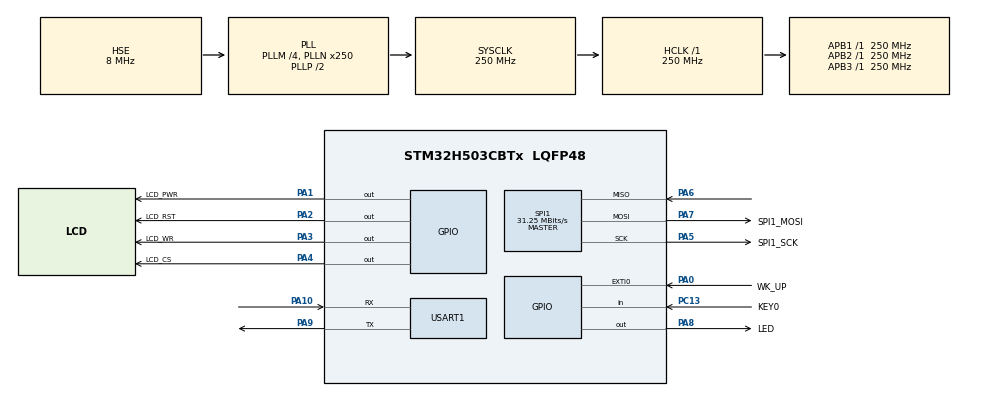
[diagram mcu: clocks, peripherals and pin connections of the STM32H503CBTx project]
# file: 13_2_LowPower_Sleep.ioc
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BOOTPATH.BootPathName=LEGACY
BOOTPATH.UserSelectedBootPath=LEGACY
Mcu.Family=STM32H5
Mcu.Name=STM32H503CBTx
Mcu.Package=LQFP48
NVIC.EXTI0_IRQn=true\:2\:2\:true\:false\:true\:true\:true\:true
NVIC.PriorityGroup=NVIC_PRIORITYGROUP_2
NVIC.USART1_IRQn=true\:2\:2\:true\:false\:true\:true\:true\:true
PA0.GPIO_Label=WK_UP
PA0.GPIO_PuPd=GPIO_PULLDOWN
PA0.Signal=GPXTI0
PA1.GPIO_Label=LCD_PWR
PA1.GPIO_PuPd=GPIO_PULLUP
PA1.GPIO_Speed=GPIO_SPEED_FREQ_HIGH
PA1.PinState=GPIO_PIN_SET
PA1.Signal=GPIO_Output
PA10.GPIO_PuPd=GPIO_NOPULL
PA10.Mode=Asynchronous
PA10.Signal=USART1_RX
PA2.GPIO_Label=LCD_RST
PA2.GPIO_PuPd=GPIO_PULLUP
PA2.GPIO_Speed=GPIO_SPEED_FREQ_HIGH
PA2.PinState=GPIO_PIN_SET
PA2.Signal=GPIO_Output
PA3.GPIO_Label=LCD_WR
PA3.GPIO_ModeDefaultOutputPP=GPIO_MODE_OUTPUT_PP
PA3.GPIO_PuPd=GPIO_PULLUP
PA3.GPIO_Speed=GPIO_SPEED_FREQ_HIGH
PA3.PinState=GPIO_PIN_SET
PA3.Signal=GPIO_Output
PA4.GPIO_Label=LCD_CS
PA4.GPIO_PuPd=GPIO_PULLUP
PA4.GPIO_Speed=GPIO_SPEED_FREQ_HIGH
PA4.PinState=GPIO_PIN_SET
PA4.Signal=GPIO_Output
PA5.GPIO_Label=SPI1_SCK
PA5.GPIO_PuPd=GPIO_PULLUP
PA5.GPIO_Speed=GPIO_SPEED_FREQ_HIGH
PA5.Mode=Full_Duplex_Master
PA5.Signal=SPI1_SCK
PA6.Mode=Full_Duplex_Master
PA6.Signal=SPI1_MISO
PA7.GPIO_Label=SPI1_MOSI
PA7.GPIO_PuPd=GPIO_PULLUP
PA7.GPIO_Speed=GPIO_SPEED_FREQ_VERY_HIGH
PA7.Mode=Full_Duplex_Master
PA7.Signal=SPI1_MOSI
PA8.GPIO_Label=LED
PA8.GPIO_ModeDefaultOutputPP=GPIO_MODE_OUTPUT_PP
PA8.GPIO_PuPd=GPIO_PULLUP
PA8.PinState=GPIO_PIN_SET
PA8.Signal=GPIO_Output
PA9.GPIO_Speed=GPIO_SPEED_FREQ_HIGH
PA9.Mode=Asynchronous
PA9.Signal=USART1_TX
PC13.GPIO_Label=KEY0
PC13.GPIO_PuPd=GPIO_PULLDOWN
PC13.Signal=GPIO_Input
PC14-OSC32_IN(OSC32_IN).Mode=LSE-External-Oscillator
PC14-OSC32_IN(OSC32_IN).Signal=RCC_OSC32_IN
PC15-OSC32_OUT(OSC32_OUT).Mode=LSE-External-Oscillator
PC15-OSC32_OUT(OSC32_OUT).Signal=RCC_OSC32_OUT
PH0-OSC_IN(PH0).Mode=HSE-External-Oscillator
PH0-OSC_IN(PH0).Signal=RCC_OSC_IN
PH1-OSC_OUT(PH1).Mode=HSE-External-Oscillator
PH1-OSC_OUT(PH1).Signal=RCC_OSC_OUT
ProjectManager.HeapSize=0x200
ProjectManager.StackSize=0x400
ProjectManager.TargetToolchain=STM32CubeIDE
RCC.ADCFreq_Value=250000000
RCC.AHBFreq_Value=250000000
RCC.APB1Freq_Value=250000000
RCC.APB1TimFreq_Value=250000000
RCC.APB2Freq_Value=250000000
RCC.APB2TimFreq_Value=250000000
RCC.APB3Freq_Value=250000000
RCC.CSI_VALUE=4000000
RCC.CortexFreq_Value=250000000
RCC.EPOD_VALUE=8000000
RCC.HCLKFreq_Value=250000000
RCC.HSE_VALUE=8000000
RCC.HSI48_VALUE=48000000
RCC.HSI_VALUE=64000000
RCC.LSIRC_VALUE=32000
RCC.PLLM=4
RCC.PLLN=250
RCC.PLLSourceVirtual=RCC_PLL1_SOURCE_HSE
RCC.SYSCLKFreq_VALUE=250000000
RCC.SYSCLKSource=RCC_SYSCLKSOURCE_PLLCLK
RCC.USBFreq_Value=48000000
RCC.VCOOutputFreq_Value=500000000
SPI1.BaudRatePrescaler=SPI_BAUDRATEPRESCALER_8
SPI1.CalculateBaudRate=31.25 MBits/s
SPI1.DataSize=SPI_DATASIZE_8BIT
SPI1.Direction=SPI_DIRECTION_2LINES
SPI1.Mode=SPI_MODE_MASTER
SPI1.VirtualType=VM_MASTER
USART1.VirtualMode=VM_ASYNC
VP_BOOTPATH_VS_BOOTPATH.Mode=BP_Activate
VP_ICACHE_VS_ICACHE.Mode=DefaultMode
VP_MEMORYMAP_VS_MEMORYMAP.Mode=CurAppReg
VP_PWR_VS_DBSignals.Mode=DisableDeadBatterySignals
VP_PWR_VS_LPOM.Mode=PowerOptimisation
VP_PWR_VS_SECSignals.Mode=Security/Privilege
board=custom

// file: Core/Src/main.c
/**
 ****************************************************************************************************
 * @file        main.c
 * @author      ALIENTEK
 * @brief       Low power_Sleep mode code
 * @license     Copyright (C) 2012-2024, ALIENTEK
 ****************************************************************************************************
 * @attention
 *
 * platform     : ALIENTEK M48-STM32H503 board
 * website      : www.alientek.com
 * forum        : www.openedv.com/forum.php
 *
 * change logs  ：
 * version      data         notes
 * V1.0         20240309     the first version
 *
 ****************************************************************************************************
 */

/* USER CODE BEGIN Header */

/* USER CODE END Header */
#include "main.h"
#include "icache.h"
#include "memorymap.h"
#include "spi.h"
#include "usart.h"
#include "gpio.h"

/* USER CODE BEGIN Includes */
#include "stdio.h"
#include "../../BSP/PWR/pwr.h"
#include "../../BSP/LED/led.h"
#include "../../BSP/KEY/key.h"
#include "../../BSP/LCD/lcd.h"
/* USER CODE END Includes */

void SystemClock_Config(void);

/* USER CODE BEGIN 0 */
/**
 * @brief   Displays information about the experiment
 * @param   None
 * @retval  None
 */
void stm32h503cb_show_mesg(void)
{
	/* The serial port outputs the experimental information */
	printf("\n");
	printf("********************************\r\n");
	printf("STM32H503\r\n");
	printf("SLEEP Test\r\n");
	printf("ATOM@ALIENTEK\r\n");
	printf("KEY0:Enter SLEEP MODE\r\n");
	printf("KEY_UP:Exit SLEEP MODE\r\n");
	printf("********************************\r\n");
	printf("\r\n");
}
/* USER CODE END 0 */

int main(void)
{
  /* USER CODE BEGIN 1 */
  uint8_t t = 0;
  uint8_t key = 0;
  /* USER CODE END 1 */

  /* MCU Configuration--------------------------------------------------------*/

  /* Reset of all peripherals, Initializes the Flash interface and the Systick. */
  HAL_Init();

  /* Configure the system clock */
  SystemClock_Config();

  /* Initialize all configured peripherals */
  MX_GPIO_Init();
  MX_ICACHE_Init();
  MX_USART1_UART_Init();
  MX_SPI1_Init();
  /* USER CODE BEGIN 2 */
  stm32h503cb_show_mesg();
  lcd_init();
  lcd_show_string(0, 5, 200, 32, 32,  "STM32", RED);
  lcd_show_string(0, 34, 200, 24, 24,  "SLEEP TEST", RED);
  lcd_show_string(0, 60, 200, 16, 16,  "ATOM@ALIENTEK", RED);
  lcd_show_string(0, 80, 200, 16, 16, "KEY0:Enter SLEEP MODE", RED);
  lcd_show_string(0, 100, 200, 16, 16, "KEY_UP:Exit SLEEP MODE", RED);
  /* USER CODE END 2 */

  /* Infinite loop */
  /* USER CODE BEGIN WHILE */
  while (1)
  {
	  key = key_scan(0);

	  if (key == KEY0_PRES)
	  {
		  lcd_show_string(0, 120, 200, 16, 16, "Enter Sleep Mode...", BLUE);
		  printf("Enter Sleep Mode...\r\n");
	      pwr_enter_sleep();    /* Enter sleep mode */
	      lcd_show_string(0, 120, 200, 16, 16, "Exit  Sleep Mode...", BLUE);
	      printf("Exit Sleep Mode...\r\n");
	  }

	  if ((t % 20) == 0)
	  {
	      LED_TOGGLE();        /* Every 200ms, the LED is flipped */
	  }

	  HAL_Delay(10);
	  t++;

    /* USER CODE END WHILE */

  }
}

void SystemClock_Config(void)
{
  RCC_OscInitTypeDef RCC_OscInitStruct = {0};
  RCC_ClkInitTypeDef RCC_ClkInitStruct = {0};

  /** Configure the main internal regulator output voltage
  */
  __HAL_PWR_VOLTAGESCALING_CONFIG(PWR_REGULATOR_VOLTAGE_SCALE0);

  while(!__HAL_PWR_GET_FLAG(PWR_FLAG_VOSRDY)) {}

  /** Initializes the RCC Oscillators according to the specified parameters
  * in the RCC_OscInitTypeDef structure.
  */
  RCC_OscInitStruct.OscillatorType = RCC_OSCILLATORTYPE_HSE;
  RCC_OscInitStruct.HSEState = RCC_HSE_ON;
  RCC_OscInitStruct.PLL.PLLState = RCC_PLL_ON;
  RCC_OscInitStruct.PLL.PLLSource = RCC_PLL1_SOURCE_HSE;
  RCC_OscInitStruct.PLL.PLLM = 4;
  RCC_OscInitStruct.PLL.PLLN = 250;
  RCC_OscInitStruct.PLL.PLLP = 2;
  RCC_OscInitStruct.PLL.PLLQ = 2;
  RCC_OscInitStruct.PLL.PLLR = 2;
  RCC_OscInitStruct.PLL.PLLRGE = RCC_PLL1_VCIRANGE_1;
  RCC_OscInitStruct.PLL.PLLVCOSEL = RCC_PLL1_VCORANGE_WIDE;
  RCC_OscInitStruct.PLL.PLLFRACN = 0;
  if (HAL_RCC_OscConfig(&RCC_OscInitStruct) != HAL_OK)
  {
    Error_Handler();
  }

  /** Initializes the CPU, AHB and APB buses clocks
  */
  RCC_ClkInitStruct.ClockType = RCC_CLOCKTYPE_HCLK|RCC_CLOCKTYPE_SYSCLK
                              |RCC_CLOCKTYPE_PCLK1|RCC_CLOCKTYPE_PCLK2
                              |RCC_CLOCKTYPE_PCLK3;
  RCC_ClkInitStruct.SYSCLKSource = RCC_SYSCLKSOURCE_PLLCLK;
  RCC_ClkInitStruct.AHBCLKDivider = RCC_SYSCLK_DIV1;
  RCC_ClkInitStruct.APB1CLKDivider = RCC_HCLK_DIV1;
  RCC_ClkInitStruct.APB2CLKDivider = RCC_HCLK_DIV1;
  RCC_ClkInitStruct.APB3CLKDivider = RCC_HCLK_DIV1;

  if (HAL_RCC_ClockConfig(&RCC_ClkInitStruct, FLASH_LATENCY_5) != HAL_OK)
  {
    Error_Handler();
  }
}

void Error_Handler(void)
{
  __disable_irq();
  while (1)
  {
  }
}
